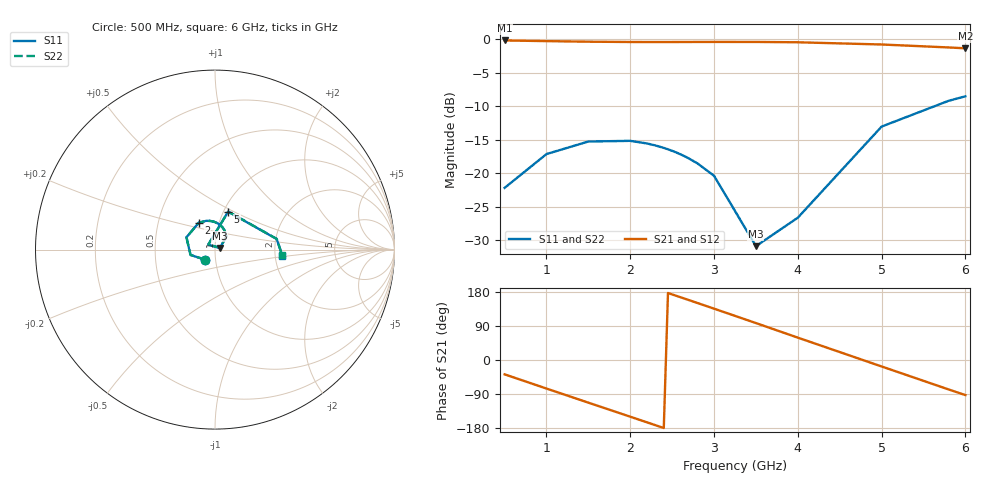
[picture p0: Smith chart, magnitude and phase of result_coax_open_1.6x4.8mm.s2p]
! 10 mm PCB + simplified BWSMA; two L2 cutouts 1.6 x 4.8 mm; L3 intact
! Coax reference planes x=-8.10 and 28.26 mm; connectors included; no de-embedding
! 20 directly solved frequencies; first-order FEM; 50-ohm reference
# Hz S RI R 50
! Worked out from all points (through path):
!   20 points, 500 MHz to 6 GHz, reference 50 ohm
!   highest |S21| = -0.15 dB at 500 MHz (marker M1); lowest = -1.3 dB at 6 GHz (marker M2)
!   lowest |S11| = -30.9 dB at 3.5 GHz (marker M3), VSWR 1.06, Z = 52.8 + j0.906 ohm
!   |S11| at or under -10 dB: start of sweep to 5.624 GHz
!   |S22| runs from -30.7 to -8.5 dB; largest |S21 - S12| = 2e-12
!   S11 on the Smith chart (normalised r, x): 500 MHz: 0.89, -0.10; 2 GHz: 0.80, +0.25; 5 GHz: 1.05, +0.47; 6 GHz: 2.19, -0.17
5e8  -0.0536 -0.0568  0.7765 -0.6033  0.7765 -0.6033  -0.0536 -0.0566
1e9  -0.1363 -0.0298  0.2458 -0.9407  0.2458 -0.9407  -0.1363 -0.0295
1.5e9  -0.1592 0.0682  -0.3695 -0.889  -0.3695 -0.889  -0.1589 0.0686
2e9  -0.0901 0.1502  -0.8267 -0.4836  -0.8267 -0.4836  -0.0899 0.1503
2.2e9  -0.0477 0.1605  -0.9225 -0.2551  -0.9225 -0.2551  -0.0476 0.1605
2.3e9  -0.0263 0.1597  -0.9478 -0.1333  -0.9478 -0.1333  -0.0262 0.1597
2.4e9  -0.0057 0.1551  -0.9572 -0.00908  -0.9572 -0.00908  -0.00578 0.1552
2.45e9  0.00401 0.1514  -0.9558 0.0533  -0.9558 0.0533  0.00387 0.1515
2.5e9  0.0132 0.1469  -0.9504 0.1155  -0.9504 0.1155  0.013 0.1471
2.55e9  0.0218 0.1417  -0.941 0.1774  -0.941 0.1774  0.0216 0.1418
2.6e9  0.0298 0.1357  -0.9275 0.2385  -0.9275 0.2385  0.0295 0.1359
2.65e9  0.037 0.1291  -0.9101 0.2987  -0.9101 0.2987  0.0367 0.1293
2.7e9  0.0435 0.1219  -0.8887 0.3577  -0.8887 0.3577  0.0431 0.1222
2.8e9  0.0538 0.1062  -0.8346 0.4711  -0.8346 0.4711  0.0534 0.1066
3e9  0.0634 0.0722  -0.6836 0.6726  -0.6836 0.6726  0.0629 0.073
3.5e9  0.0274 0.00858  -0.1243 0.9506  -0.1243 0.9506  0.0274 0.0102
4e9  -0.0379 0.0274  0.491 0.8167  0.491 0.8167  -0.0368 0.029
5e9  0.0733 0.2116  0.8771 -0.2693  0.8771 -0.2693  0.074 0.2115
5.8e9  0.3436 0.0588  0.1855 -0.852  0.1855 -0.852  0.3436 0.0599
6e9  0.375 -0.034  -0.0391 -0.8584  -0.0391 -0.8584  0.3753 -0.0326
